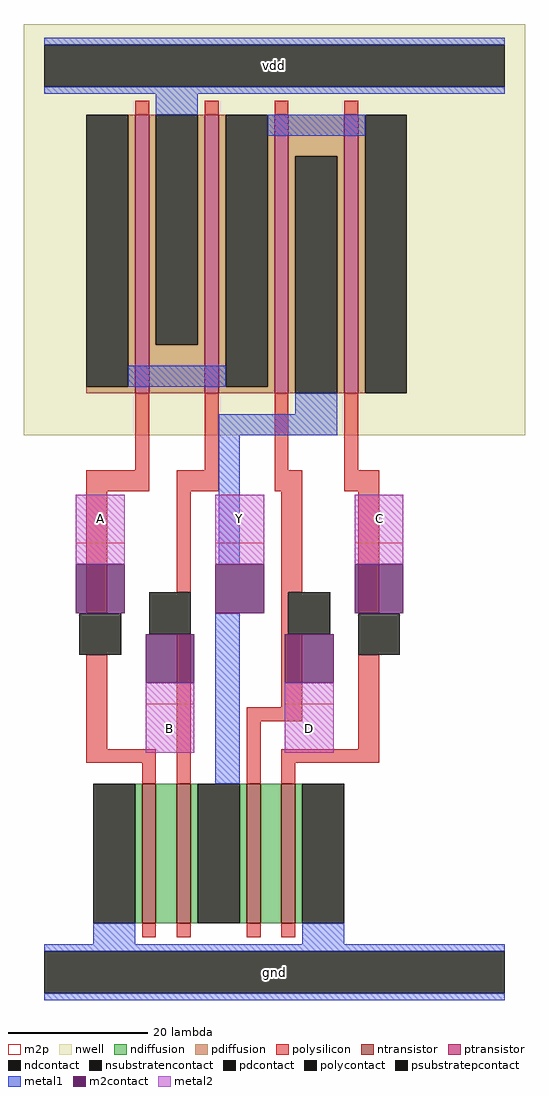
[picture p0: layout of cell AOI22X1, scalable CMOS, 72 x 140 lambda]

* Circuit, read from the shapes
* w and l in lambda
.subckt AOI22X1 A B C D Y vdd gnd
M1 n1 A gnd gnd nfet w=20 l=2
M2 Y B n1 gnd nfet w=20 l=2
M3 n2 D Y gnd nfet w=20 l=2
M4 gnd C n2 gnd nfet w=20 l=2
M5 vdd A n3 vdd pfet w=40 l=2
M6 n3 B vdd vdd pfet w=40 l=2
M7 Y D n3 vdd pfet w=40 l=2
M8 n3 C Y vdd pfet w=40 l=2
.ends

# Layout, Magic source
magic
tech scmos
magscale 1 2
<< nwell >>
rect -12 154 132 272
<< ntransistor >>
rect 22 14 26 54
rect 32 14 36 54
rect 52 14 56 54
rect 62 14 66 54
<< ptransistor >>
rect 20 166 24 246
rect 40 166 44 246
rect 60 166 64 246
rect 80 166 84 246
<< ndiffusion >>
rect 20 14 22 54
rect 26 14 32 54
rect 36 14 38 54
rect 50 14 52 54
rect 56 14 62 54
rect 66 14 68 54
<< pdiffusion >>
rect 18 168 20 246
rect 6 166 20 168
rect 24 180 26 246
rect 38 180 40 246
rect 24 166 40 180
rect 44 168 46 246
rect 58 168 60 246
rect 44 166 60 168
rect 64 234 80 246
rect 64 166 66 234
rect 78 166 80 234
rect 84 166 86 246
<< ndcontact >>
rect 8 14 20 54
rect 38 14 50 54
rect 68 14 80 54
<< pdcontact >>
rect 6 168 18 246
rect 26 180 38 246
rect 46 168 58 246
rect 66 166 78 234
rect 86 166 98 246
<< psubstratepcontact >>
rect -6 -6 126 6
<< nsubstratencontact >>
rect -6 254 126 266
<< polysilicon >>
rect 20 246 24 250
rect 40 246 44 250
rect 60 246 64 250
rect 80 246 84 250
rect 20 144 24 166
rect 40 144 44 166
rect 6 138 24 144
rect 32 138 44 144
rect 60 144 64 166
rect 80 144 84 166
rect 60 138 68 144
rect 80 138 90 144
rect 6 103 12 138
rect 32 109 36 138
rect 6 64 12 91
rect 6 60 26 64
rect 22 54 26 60
rect 32 54 36 97
rect 62 109 68 138
rect 62 97 64 109
rect 84 103 90 138
rect 62 76 68 97
rect 52 72 68 76
rect 52 54 56 72
rect 84 64 90 91
rect 62 60 90 64
rect 62 54 66 60
rect 22 10 26 14
rect 32 10 36 14
rect 52 10 56 14
rect 62 10 66 14
<< polycontact >>
rect 4 91 16 103
rect 24 97 36 109
rect 64 97 76 109
rect 84 91 96 103
<< metal1 >>
rect -6 266 126 268
rect -6 252 126 254
rect 26 246 38 252
rect 18 168 46 174
rect 58 240 86 246
rect 66 160 78 166
rect 44 154 78 160
rect 44 117 50 154
rect 43 54 50 103
rect 8 8 20 14
rect 68 8 80 14
rect -6 6 126 8
rect -6 -8 126 -6
<< m2contact >>
rect 3 103 17 117
rect 43 103 57 117
rect 23 83 37 97
rect 83 103 97 117
rect 63 83 77 97
<< metal2 >>
rect 3 117 17 137
rect 43 117 57 137
rect 83 117 97 137
rect 23 63 37 83
rect 63 63 77 83
<< m2p >>
rect 3 123 17 137
rect 43 123 57 137
rect 83 123 97 137
rect 23 63 37 77
rect 63 63 77 77
<< labels >>
rlabel metal2 3 123 17 137 0 A
port 0 nsew signal input
rlabel metal2 23 63 37 77 0 B
port 1 nsew signal input
rlabel metal2 83 123 97 137 0 C
port 2 nsew signal input
rlabel metal2 63 63 77 77 0 D
port 3 nsew signal input
rlabel metal2 43 123 57 137 0 Y
port 4 nsew signal output
rlabel metal1 -6 252 126 268 0 vdd
port 5 nsew power bidirectional abutment
rlabel metal1 -6 -8 126 8 0 gnd
port 6 nsew ground bidirectional abutment
<< properties >>
string FIXED_BBOX 0 0 120 260
string LEFclass CORE
string LEFsite core
string LEFsymmetry X Y
<< end >>
